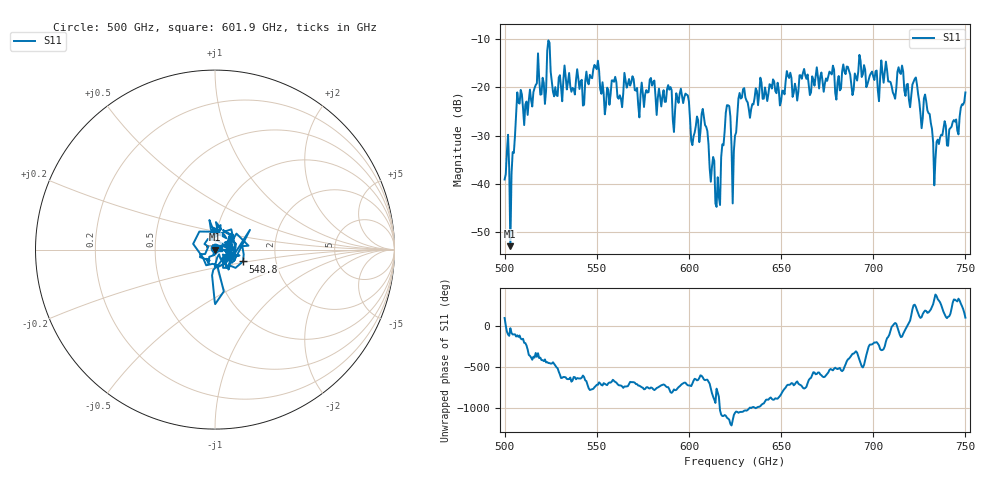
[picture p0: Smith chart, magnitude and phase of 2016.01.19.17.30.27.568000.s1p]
!Created with skrf (http://scikit-rf.org).
# GHz S RI R 50.0
!freq ReS11 ImS11
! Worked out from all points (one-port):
!   401 points, 500 GHz to 750 GHz, reference 50 ohm
!   lowest |S11| = -52.8 dB at 503.1 GHz (marker M1), VSWR 1.00, Z = 50.2 - j0.105 ohm
!   |S11| at or under -10 dB: start of sweep to end of sweep
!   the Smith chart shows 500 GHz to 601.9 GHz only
!   S11 on the Smith chart (normalised r, x): 500 GHz: 1.00, +0.02; 548.8 GHz: 1.36, -0.18; 601.9 GHz: 1.05, +0.02
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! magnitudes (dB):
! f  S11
! 500 GHz  -39.1
! 503.1 GHz  -52.8
! 508.1 GHz  -23.4
! 521.2 GHz  -19.1
! 524.4 GHz  -10.8
! 527.5 GHz  -20.0
! 531.2 GHz  -22.9
! 541.9 GHz  -18.5
! 548.8 GHz  -15.4
! 562.5 GHz  -21.7
! 568.8 GHz  -19.0
! 593.8 GHz  -22.2
! 598.8 GHz  -21.5
! 601.9 GHz  -32.0
! 608.1 GHz  -26.2
! 615.6 GHz  -38.6
! 620.6 GHz  -23.7
! 625 GHz  -30.0
! 628.8 GHz  -22.1
! 656.2 GHz  -22.0
! 687.5 GHz  -17.4
! 705.6 GHz  -19.1
! 711.2 GHz  -21.6
! 715 GHz  -17.3
! 718.8 GHz  -19.3
! 728.8 GHz  -22.9
! 734.4 GHz  -31.3
! 750 GHz  -21.1
